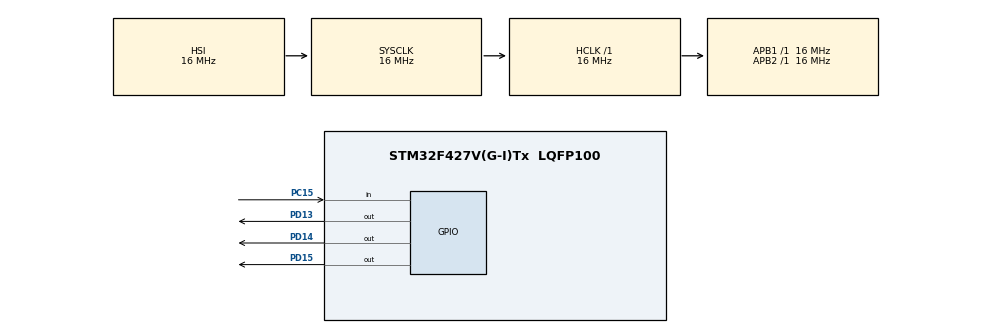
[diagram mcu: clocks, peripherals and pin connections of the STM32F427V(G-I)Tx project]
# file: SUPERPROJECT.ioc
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Mcu.Family=STM32F4
Mcu.Name=STM32F427V(G-I)Tx
Mcu.Package=LQFP100
NVIC.PriorityGroup=NVIC_PRIORITYGROUP_4
PA13.Mode=JTAG_5_pins
PA13.Signal=SYS_JTMS-SWDIO
PA14.Mode=JTAG_5_pins
PA14.Signal=SYS_JTCK-SWCLK
PA15.Mode=JTAG_5_pins
PA15.Signal=SYS_JTDI
PB3.Mode=JTAG_5_pins
PB3.Signal=SYS_JTDO-SWO
PB4.Mode=JTAG_5_pins
PB4.Signal=SYS_JTRST
PC15/OSC32_OUT.Signal=GPIO_Input
PD13.Signal=GPIO_Output
PD14.Signal=GPIO_Output
PD15.Signal=GPIO_Output
ProjectManager.HeapSize=0x200
ProjectManager.StackSize=0x400
ProjectManager.TargetToolchain=STM32CubeIDE
RCC.AHBFreq_Value=16000000
RCC.APB1Freq_Value=16000000
RCC.APB2Freq_Value=16000000
RCC.CortexFreq_Value=16000000
RCC.HSE_VALUE=25000000
RCC.HSI_VALUE=16000000
RCC.LSE_VALUE=32768
RCC.SYSCLKFreq_VALUE=16000000
RCC.VCOOutputFreq_Value=192000000
board=custom

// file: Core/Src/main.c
/* USER CODE BEGIN Header */
/**
  ******************************************************************************
  * @file           : main.c
  * @brief          : Main program body
  ******************************************************************************
  * @attention
  *
  * Copyright (c) 2022 STMicroelectronics.
  * All rights reserved.
  *
  * This software is licensed under terms that can be found in the LICENSE file
  * in the root directory of this software component.
  * If no LICENSE file comes with this software, it is provided AS-IS.
  *
  ******************************************************************************
  */
/* USER CODE END Header */
#include "main.h"
#include "gpio.h"

void SystemClock_Config(void);

int main(void)
{

  /* MCU Configuration--------------------------------------------------------*/

  /* Reset of all peripherals, Initializes the Flash interface and the Systick. */
  HAL_Init();

  /* Configure the system clock */
  SystemClock_Config();

  /* Initialize all configured peripherals */
  MX_GPIO_Init();

  /* Infinite loop */
  /* USER CODE BEGIN WHILE */
  uint32_t counter = 0;
  while (1)
  {
    /* USER CODE END WHILE */
	  GPIO_PinState currentPowerState = HAL_GPIO_ReadPin(GPIOC, GPIO_PIN_15);

	  if (currentPowerState==GPIO_PIN_RESET)
	  {
		  counter++;
	  }
	  callMode(counter);
  }
}

void SystemClock_Config(void)
{
  RCC_OscInitTypeDef RCC_OscInitStruct = {0};
  RCC_ClkInitTypeDef RCC_ClkInitStruct = {0};

  /** Configure the main internal regulator output voltage
  */
  __HAL_RCC_PWR_CLK_ENABLE();
  __HAL_PWR_VOLTAGESCALING_CONFIG(PWR_REGULATOR_VOLTAGE_SCALE3);
  /** Initializes the RCC Oscillators according to the specified parameters
  * in the RCC_OscInitTypeDef structure.
  */
  RCC_OscInitStruct.OscillatorType = RCC_OSCILLATORTYPE_HSI;
  RCC_OscInitStruct.HSIState = RCC_HSI_ON;
  RCC_OscInitStruct.HSICalibrationValue = RCC_HSICALIBRATION_DEFAULT;
  RCC_OscInitStruct.PLL.PLLState = RCC_PLL_NONE;
  if (HAL_RCC_OscConfig(&RCC_OscInitStruct) != HAL_OK)
  {
    Error_Handler();
  }
  /** Initializes the CPU, AHB and APB buses clocks
  */
  RCC_ClkInitStruct.ClockType = RCC_CLOCKTYPE_HCLK|RCC_CLOCKTYPE_SYSCLK
                              |RCC_CLOCKTYPE_PCLK1|RCC_CLOCKTYPE_PCLK2;
  RCC_ClkInitStruct.SYSCLKSource = RCC_SYSCLKSOURCE_HSI;
  RCC_ClkInitStruct.AHBCLKDivider = RCC_SYSCLK_DIV1;
  RCC_ClkInitStruct.APB1CLKDivider = RCC_HCLK_DIV1;
  RCC_ClkInitStruct.APB2CLKDivider = RCC_HCLK_DIV1;

  if (HAL_RCC_ClockConfig(&RCC_ClkInitStruct, FLASH_LATENCY_0) != HAL_OK)
  {
    Error_Handler();
  }
}

/* USER CODE BEGIN 4 */
void callMode(int64_t counter)
{
	uint32_t mode = counter % 4;
	switch(mode) {
		case 0:
					HAL_GPIO_TogglePin(GPIOD, GPIO_PIN_13);
					HAL_Delay(500);
					HAL_GPIO_TogglePin(GPIOD, GPIO_PIN_14);
					HAL_Delay(500);
					HAL_GPIO_TogglePin(GPIOD, GPIO_PIN_15);
					HAL_Delay(500);
					break;
		case 1:
					HAL_GPIO_TogglePin(GPIOD, GPIO_PIN_13);
					HAL_Delay(200);
					HAL_GPIO_TogglePin(GPIOD, GPIO_PIN_14);
					HAL_Delay(200);
					HAL_GPIO_TogglePin(GPIOD, GPIO_PIN_13);
					HAL_Delay(200);
					break;
		case 2:
					HAL_GPIO_TogglePin(GPIOD, GPIO_PIN_14);
					HAL_Delay(300);
					HAL_GPIO_TogglePin(GPIOD, GPIO_PIN_15);
					HAL_Delay(300);
					HAL_GPIO_TogglePin(GPIOD, GPIO_PIN_14);
					HAL_Delay(300);
					break;
		case 3:
					HAL_GPIO_TogglePin(GPIOD, GPIO_PIN_15);
					HAL_Delay(400);
					HAL_GPIO_TogglePin(GPIOD, GPIO_PIN_13);
					HAL_Delay(400);
					HAL_GPIO_TogglePin(GPIOD, GPIO_PIN_15);
					HAL_Delay(400);
					break;
	};
}
/* USER CODE END 4 */

void Error_Handler(void)
{
  __disable_irq();
  while (1)
  {
  }
}
